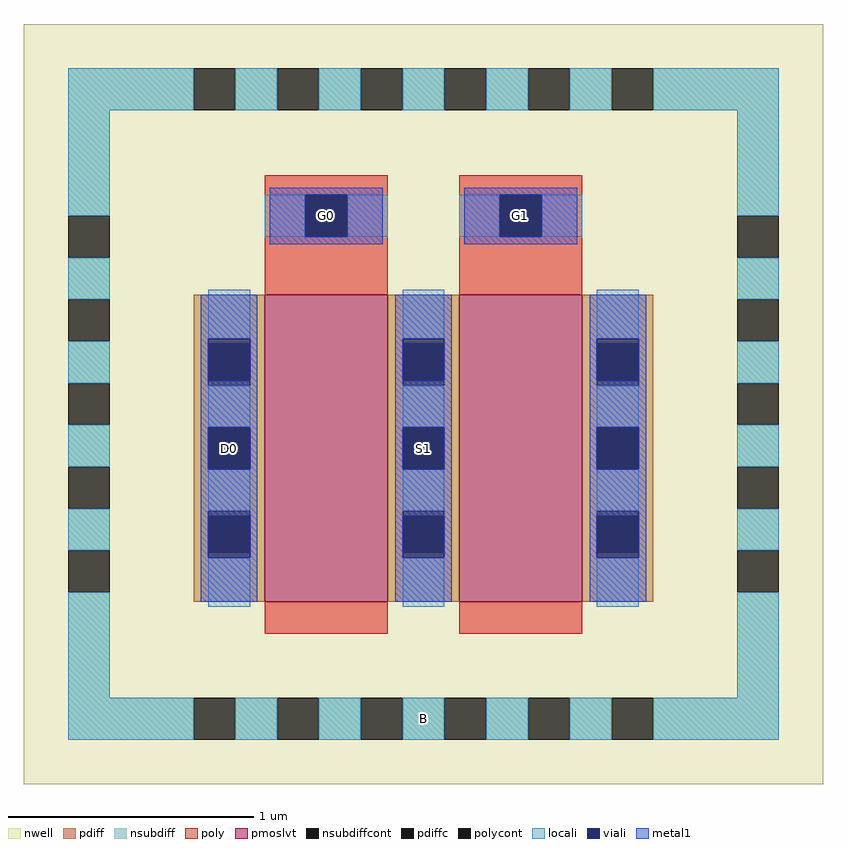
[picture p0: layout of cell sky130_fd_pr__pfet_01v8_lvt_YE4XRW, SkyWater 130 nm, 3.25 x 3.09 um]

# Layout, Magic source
magic
tech sky130A
magscale 1 2
<< nwell >>
rect -325 -309 325 309
<< pmoslvt >>
rect -129 -161 -29 89
rect 29 -161 129 89
<< pdiff >>
rect -187 49 -129 89
rect -187 15 -175 49
rect -141 15 -129 49
rect -187 -19 -129 15
rect -187 -53 -175 -19
rect -141 -53 -129 -19
rect -187 -87 -129 -53
rect -187 -121 -175 -87
rect -141 -121 -129 -87
rect -187 -161 -129 -121
rect -29 49 29 89
rect -29 15 -17 49
rect 17 15 29 49
rect -29 -19 29 15
rect -29 -53 -17 -19
rect 17 -53 29 -19
rect -29 -87 29 -53
rect -29 -121 -17 -87
rect 17 -121 29 -87
rect -29 -161 29 -121
rect 129 49 187 89
rect 129 15 141 49
rect 175 15 187 49
rect 129 -19 187 15
rect 129 -53 141 -19
rect 175 -53 187 -19
rect 129 -87 187 -53
rect 129 -121 141 -87
rect 175 -121 187 -87
rect 129 -161 187 -121
<< pdiffc >>
rect -175 15 -141 49
rect -175 -53 -141 -19
rect -175 -121 -141 -87
rect -17 15 17 49
rect -17 -53 17 -19
rect -17 -121 17 -87
rect 141 15 175 49
rect 141 -53 175 -19
rect 141 -121 175 -87
<< nsubdiff >>
rect -289 239 -187 273
rect -153 239 -119 273
rect -85 239 -51 273
rect -17 239 17 273
rect 51 239 85 273
rect 119 239 153 273
rect 187 239 289 273
rect -289 153 -255 239
rect -289 85 -255 119
rect 255 153 289 239
rect -289 17 -255 51
rect -289 -51 -255 -17
rect -289 -119 -255 -85
rect -289 -239 -255 -153
rect 255 85 289 119
rect 255 17 289 51
rect 255 -51 289 -17
rect 255 -119 289 -85
rect 255 -239 289 -153
rect -289 -273 -187 -239
rect -153 -273 -119 -239
rect -85 -273 -51 -239
rect -17 -273 17 -239
rect 51 -273 85 -239
rect 119 -273 153 -239
rect 187 -273 289 -239
<< nsubdiffcont >>
rect -187 239 -153 273
rect -119 239 -85 273
rect -51 239 -17 273
rect 17 239 51 273
rect 85 239 119 273
rect 153 239 187 273
rect -289 119 -255 153
rect 255 119 289 153
rect -289 51 -255 85
rect -289 -17 -255 17
rect -289 -85 -255 -51
rect -289 -153 -255 -119
rect 255 51 289 85
rect 255 -17 289 17
rect 255 -85 289 -51
rect 255 -153 289 -119
rect -187 -273 -153 -239
rect -119 -273 -85 -239
rect -51 -273 -17 -239
rect 17 -273 51 -239
rect 85 -273 119 -239
rect 153 -273 187 -239
<< poly >>
rect -129 170 -29 186
rect -129 136 -96 170
rect -62 136 -29 170
rect -129 89 -29 136
rect 29 170 129 186
rect 29 136 62 170
rect 96 136 129 170
rect 29 89 129 136
rect -129 -187 -29 -161
rect 29 -187 129 -161
<< polycont >>
rect -96 136 -62 170
rect 62 136 96 170
<< locali >>
rect -289 239 -187 273
rect -153 239 -119 273
rect -85 239 -51 273
rect -17 239 17 273
rect 51 239 85 273
rect 119 239 153 273
rect 187 239 289 273
rect -289 153 -255 239
rect -129 136 -96 170
rect -62 136 -29 170
rect 29 136 62 170
rect 96 136 129 170
rect 255 153 289 239
rect -289 85 -255 119
rect -289 17 -255 51
rect -289 -51 -255 -17
rect -289 -119 -255 -85
rect -289 -239 -255 -153
rect -175 53 -141 93
rect -175 -19 -141 15
rect -175 -87 -141 -53
rect -175 -165 -141 -125
rect -17 53 17 93
rect -17 -19 17 15
rect -17 -87 17 -53
rect -17 -165 17 -125
rect 141 53 175 93
rect 141 -19 175 15
rect 141 -87 175 -53
rect 141 -165 175 -125
rect 255 85 289 119
rect 255 17 289 51
rect 255 -51 289 -17
rect 255 -119 289 -85
rect 255 -239 289 -153
rect -289 -273 -187 -239
rect -153 -273 -119 -239
rect -85 -273 -51 -239
rect -17 -273 17 -239
rect 51 -273 85 -239
rect 119 -273 153 -239
rect 187 -273 289 -239
<< viali >>
rect -96 136 -62 170
rect 62 136 96 170
rect -175 49 -141 53
rect -175 19 -141 49
rect -175 -53 -141 -19
rect -175 -121 -141 -91
rect -175 -125 -141 -121
rect -17 49 17 53
rect -17 19 17 49
rect -17 -53 17 -19
rect -17 -121 17 -91
rect -17 -125 17 -121
rect 141 49 175 53
rect 141 19 175 49
rect 141 -53 175 -19
rect 141 -121 175 -91
rect 141 -125 175 -121
<< metal1 >>
rect -125 170 -33 176
rect -125 136 -96 170
rect -62 136 -33 170
rect -125 130 -33 136
rect 33 170 125 176
rect 33 136 62 170
rect 96 136 125 170
rect 33 130 125 136
rect -181 53 -135 89
rect -181 19 -175 53
rect -141 19 -135 53
rect -181 -19 -135 19
rect -181 -53 -175 -19
rect -141 -53 -135 -19
rect -181 -91 -135 -53
rect -181 -125 -175 -91
rect -141 -125 -135 -91
rect -181 -161 -135 -125
rect -23 53 23 89
rect -23 19 -17 53
rect 17 19 23 53
rect -23 -19 23 19
rect -23 -53 -17 -19
rect 17 -53 23 -19
rect -23 -91 23 -53
rect -23 -125 -17 -91
rect 17 -125 23 -91
rect -23 -161 23 -125
rect 135 53 181 89
rect 135 19 141 53
rect 175 19 181 53
rect 135 -19 181 19
rect 135 -53 141 -19
rect 175 -53 181 -19
rect 135 -91 181 -53
rect 135 -125 141 -91
rect 175 -125 181 -91
rect 135 -161 181 -125
<< labels >>
rlabel locali s 0 -256 0 -256 4 B
rlabel locali s -158 -36 -158 -36 4 D0
rlabel locali s -79 153 -79 153 4 G0
rlabel locali s 0 -36 0 -36 4 S1
rlabel locali s 79 153 79 153 4 G1
<< properties >>
string FIXED_BBOX -528 -256 272 256
<< end >>
